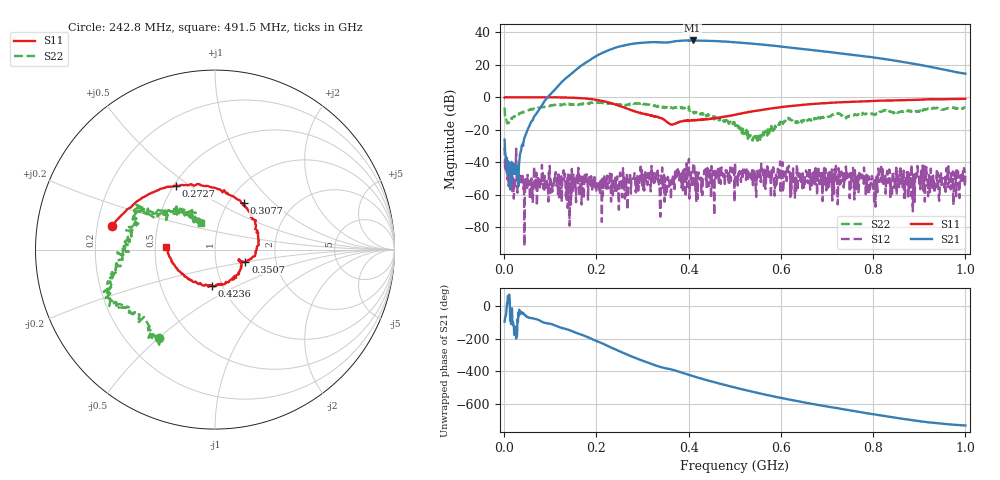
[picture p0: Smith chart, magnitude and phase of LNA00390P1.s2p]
! Created with skrf 1.9.0 (http://scikit-rf.org).
# Hz S RI R 50.0
!freq ReS11 ImS11 ReS21 ImS21 ReS12 ImS12 ReS22 ImS22
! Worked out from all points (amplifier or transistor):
!   1001 points, 1 MHz to 1 GHz, reference 50 ohm
!   highest |S21| = 35.0 dB at 408.6 MHz (marker M1)
!   |S21| within 3 dB of that: 260.6 MHz to 576.1 MHz (315.5 MHz wide, 75.4 % of centre)
!   unconditionally stable (mu >= 1): 189.9 MHz to 295.3 MHz; 298.7 MHz to 395.5 MHz; 400.8 MHz to end of sweep (the widest 3 of 33)
!   at 166.8 MHz: K = 0.61, MSG = 34.2 dB, |S12| = -49.1 dB
!   at 500.5 MHz: K = 1.19, MAG = 34.4 dB, |S12| = -40.3 dB
!   at 1 GHz: K = 3.07, MAG = 22.7 dB, |S12| = -46.4 dB
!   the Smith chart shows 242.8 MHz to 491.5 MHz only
!   S11 on the Smith chart (normalised r, x): 242.8 MHz: 0.26, +0.10; 272.7 MHz: 0.52, +0.44; 307.7 MHz: 1.18, +0.67; 350.6 MHz: 1.39, -0.19; 423.6 MHz: 0.89, -0.38; 491.5 MHz: 0.57, +0.02
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1000000  0.9753 0.0078  -0.00443 -0.0492  -0.0212 0.0204  0.3411 0.3347
1.08892e8  0.5321 -0.8415  -0.7536 -1.483  0.00221 -0.00275  0.4269 -0.3786
1.67833e8  -0.2098 -0.9071  -9.53 -0.7771  -0.000474 -0.000147  0.0459 -0.6316
2.09791e8  -0.6666 -0.4092  -15.69 15.72  0.00193 0.000184  -0.2105 -0.6419
2.42758e8  -0.5724 0.1295  -1.53 34.13  -0.000997 0.000817  -0.3109 -0.4952
2.72728e8  -0.216 0.3551  23.94 35.92  -0.00443 -0.00195  -0.5333 -0.303
3.07693e8  0.1595 0.2576  46.61 14.81  -0.000848 0.00436  -0.566 -0.1415
3.34666e8  0.244 0.0263  48.94 -8  -0.00123 0.00379  -0.5121 -0.0291
3.5065e8  0.1696 -0.0673  45.24 -17.43  0.00159 0.000139  -0.4968 0.0685
3.76624e8  0.148 -0.0788  41.85 -34.55  -0.00303 0.00525  -0.4662 0.182
4.08592e8  0.0613 -0.1849  20.63 -52.31  -0.000248 0.00164  -0.3168 0.2182
4.23577e8  -0.0157 -0.2015  8.665 -55.08  0.000488 0.00294  -0.2356 0.2108
4.55545e8  -0.1694 -0.1508  -14.85 -51.74  -0.000183 -0.000141  -0.1182 0.1705
4.91509e8  -0.2712 0.0161  -33.87 -37.38  0.00182 -0.00189  -0.0769 0.1471
5.005e8  -0.2789 0.0709  -37.29 -32.74  0.00788 -0.00558  -0.0878 0.0997
5.4046e8  -0.2425 0.2789  -42.97 -11.19  0.00452 -0.00411  -0.0363 0.0459
5.88412e8  -0.071 0.4656  -36.76 10.11  0.000744 0.00167  -0.1042 -0.0519
6.67333e8  0.3036 0.536  -14.82 24.11  0.00188 -0.000418  -0.2175 -0.0457
7.53247e8  0.6165 0.381  3.55 20.07  -0.00156 -0.00326  -0.2614 0.00427
8.34166e8  0.7792 0.1557  10.43 9.886  -0.00379 -0.000547  -0.3734 0.0198
9.09091e8  0.845 -0.0985  9.268 2.008  -0.000271 -0.00193  -0.3712 0.1859
1e9  0.8163 -0.3714  5.243 -0.9691  -0.00391 -0.00273  -0.3014 0.3651
